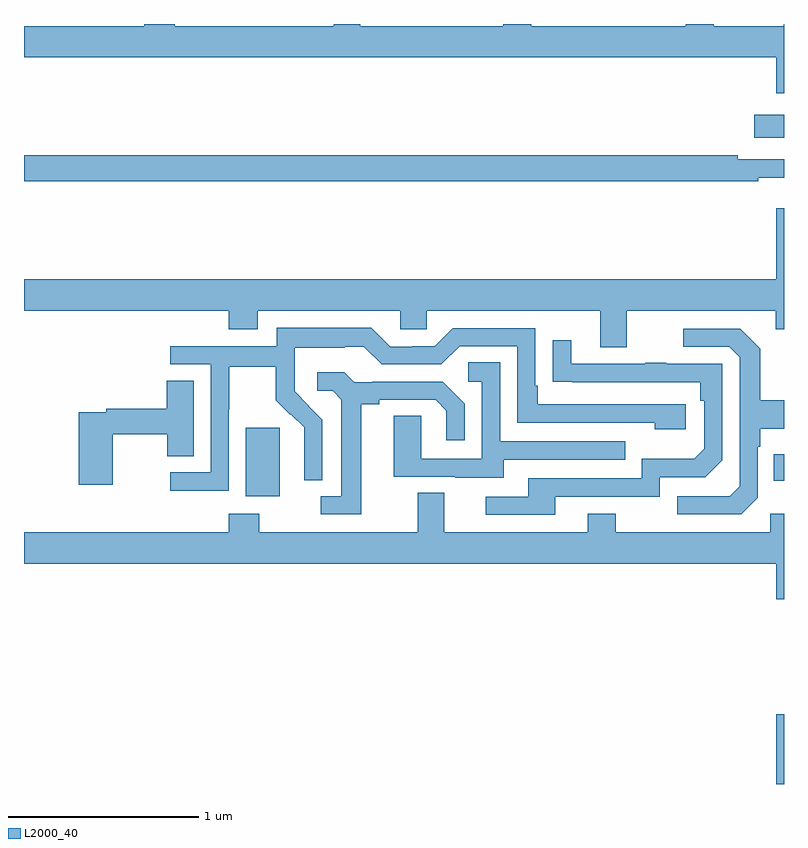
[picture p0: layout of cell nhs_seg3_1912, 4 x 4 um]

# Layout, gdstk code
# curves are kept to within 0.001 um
import gdstk
lib = gdstk.Library(unit=1e-6, precision=1e-09)
def R(c, l, rs):  # rectangles x0, y0, x1, y1
    for r in rs: c.add(gdstk.rectangle(r[:2], r[2:], *l))
def P(c, l, *ps):  # polygons
    for p in ps: c.add(gdstk.Polygon(p, *l))
L2000_40 = (2000, 40)

nhs_seg3_1912 = lib.new_cell('nhs_seg3_1912')
R(nhs_seg3_1912, L2000_40, [(212.96,722.4,213,722.767), (210.167,723.914,210.346,724.275), (212.947,723.995,213,724.135), (212.844,725.801,213,725.923)])
P(nhs_seg3_1912, L2000_40, [(212.631,726.4),(212.484,726.4),(212.484,726.388),(211.671,726.388),(211.671,726.4),(211.523,726.4),(211.523,726.388),(210.769,726.388),(210.769,726.4),(210.629,726.4),(210.629,726.388),(209.793,726.388),(209.793,726.4),(209.633,726.4),(209.633,726.388),(209,726.388),(209,726.224),(212.96,726.224),(212.96,726.036),(213,726.036),(213,726.4),(212.998,726.4),(212.998,726.388),(212.631,726.388)],
  [(212.864,725.591),(213,725.591),(213,725.688),(212.756,725.688),(212.756,725.708),(209,725.708),(209,725.572),(212.864,725.572)],
  [(212.173,724.892),(212.957,724.892),(212.957,724.793),(213,724.793),(213,725.431),(212.96,725.431),(212.96,725.056),(209,725.056),(209,724.892),(210.077,724.892),(210.077,724.793),(210.229,724.793),(210.229,724.892),(210.981,724.892),(210.981,724.794),(211.119,724.794),(211.119,724.892),(212.033,724.892),(212.033,724.698),(212.173,724.698)],
  [(210.078,724.372),(210.081,724.372),(210.081,724.596),(210.325,724.596),(210.325,724.421),(210.402,724.344),(210.405,724.347),(210.476,724.277),(210.476,724.154),(210.474,724.154),(210.474,724),(210.57,724),(210.57,724.318),(210.424,724.466),(210.424,724.563),(210.426,724.563),(210.426,724.697),(210.689,724.697),(210.689,724.701),(210.789,724.701),(210.882,724.608),(211.197,724.608),(211.293,724.704),(211.596,724.704),(211.596,724.302),(212.321,724.302),(212.321,724.268),(212.482,724.268),(212.482,724.398),(211.705,724.398),(211.705,724.495),(211.692,724.495),(211.692,724.8),(211.257,724.8),(211.161,724.704),(211.043,724.704),(211.043,724.701),(210.927,724.701),(210.827,724.801),(210.33,724.801),(210.33,724.704),(209.769,724.704),(209.769,724.608),(209.982,724.608),(209.982,724.041),(209.769,724.041),(209.769,723.943),(210.078,723.943)],
  [(212.862,723.906),(212.862,724.175),(212.875,724.175),(212.875,724.271),(213,724.271),(213,724.419),(212.875,724.419),(212.875,724.691),(212.769,724.797),(212.469,724.797),(212.469,724.701),(212.712,724.701),(212.766,724.647),(212.766,723.966),(212.715,723.915),(212.439,723.915),(212.439,723.819),(212.775,723.819)],
  [(211.795,723.912),(212.346,723.912),(212.346,724.014),(212.586,724.014),(212.676,724.104),(212.676,724.611),(212.381,724.611),(212.381,724.616),(212.269,724.616),(212.269,724.611),(211.879,724.611),(211.879,724.735),(211.783,724.735),(211.783,724.516),(212.56,724.515),(212.56,724.418),(212.58,724.418),(212.58,724.164),(212.527,724.111),(212.25,724.111),(212.25,724.008),(211.655,724.008),(211.655,723.912),(211.431,723.912),(211.431,723.816),(211.795,723.816)],
  [(211.525,724.107),(212.165,724.107),(212.165,724.203),(211.506,724.203),(211.506,724.619),(211.338,724.619),(211.338,724.518),(211.41,724.518),(211.41,724.113),(211.092,724.113),(211.092,724.337),(210.947,724.337),(210.947,724.017),(211.271,724.017),(211.271,724.013),(211.525,724.013)],
  [(210.775,724.4),(210.871,724.4),(210.871,724.422),(211.166,724.422),(211.223,724.365),(211.223,724.209),(211.32,724.209),(211.32,724.402),(211.204,724.518),(210.832,724.518),(210.832,724.515),(210.738,724.515),(210.686,724.567),(210.543,724.567),(210.543,724.47),(210.624,724.47),(210.671,724.423),(210.671,723.915),(210.561,723.915),(210.561,723.819),(210.775,723.819)],
  [(209.466,724.24),(209.755,724.24),(209.755,724.126),(209.893,724.126),(209.893,724.523),(209.75,724.523),(209.75,724.376),(209.434,724.376),(209.434,724.356),(209.288,724.356),(209.288,723.975),(209.466,723.975)],
  [(213,723.823),(212.928,723.823),(212.928,723.724),(212.115,723.724),(212.115,723.823),(211.967,723.823),(211.967,723.724),(211.213,723.724),(211.213,723.932),(211.073,723.932),(211.073,723.724),(210.237,723.724),(210.237,723.823),(210.077,723.823),(210.077,723.724),(209,723.724),(209,723.56),(212.96,723.56),(212.96,723.372),(213,723.372)])

lib.write_gds('nhs_seg3_1912.gds')
